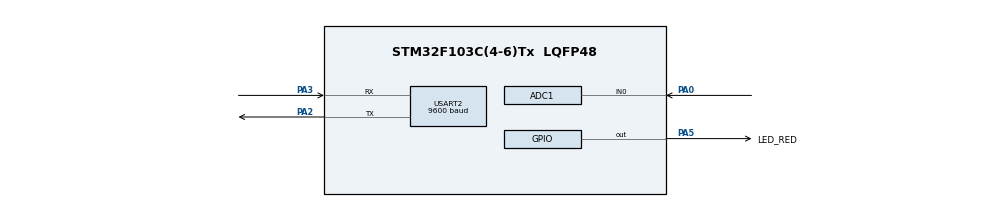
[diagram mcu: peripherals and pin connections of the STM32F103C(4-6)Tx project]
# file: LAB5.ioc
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ADC1.Channel-1\#ChannelRegularConversion=ADC_CHANNEL_0
ADC1.ContinuousConvMode=ENABLE
ADC1.NbrOfConversionFlag=1
ADC1.Rank-1\#ChannelRegularConversion=1
ADC1.SamplingTime-1\#ChannelRegularConversion=ADC_SAMPLETIME_1CYCLE_5
ADC1.master=1
Mcu.Family=STM32F1
Mcu.Name=STM32F103C(4-6)Tx
Mcu.Package=LQFP48
NVIC.PriorityGroup=NVIC_PRIORITYGROUP_4
NVIC.TIM2_IRQn=true\:0\:0\:false\:false\:true\:true\:true
NVIC.USART2_IRQn=true\:0\:0\:false\:false\:true\:true\:true
PA0-WKUP.Signal=ADCx_IN0
PA2.Mode=Asynchronous
PA2.Signal=USART2_TX
PA3.Mode=Asynchronous
PA3.Signal=USART2_RX
PA5.GPIO_Label=LED_RED
PA5.Signal=GPIO_Output
PA6.Signal=S_TIM3_CH1
ProjectManager.HeapSize=0x200
ProjectManager.StackSize=0x400
ProjectManager.TargetToolchain=STM32CubeIDE
RCC.APB1Freq_Value=8000000
RCC.APB2Freq_Value=8000000
SH.ADCx_IN0.0=ADC1_IN0,IN0
SH.S_TIM3_CH1.0=TIM3_CH1
TIM2.Period=9
TIM2.Prescaler=7999
USART2.BaudRate=9600
USART2.VirtualMode=VM_ASYNC
VP_SYS_VS_ND.Mode=No_Debug
VP_TIM2_VS_ClockSourceINT.Mode=Internal
board=custom

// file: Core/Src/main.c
/* USER CODE BEGIN Header */
/**
  ******************************************************************************
  * @file           : main.c
  * @brief          : Main program body
  ******************************************************************************
  * @attention
  *
  * <h2><center>&copy; Copyright (c) 2023 STMicroelectronics.
  * All rights reserved.</center></h2>
  *
  * This software component is licensed by ST under BSD 3-Clause license,
  * the "License"; You may not use this file except in compliance with the
  * License. You may obtain a copy of the License at:
  *                        opensource.org/licenses/BSD-3-Clause
  *
  ******************************************************************************
  */
/* USER CODE END Header */
#include "main.h"

/* USER CODE BEGIN Includes */
#include "global.h"
#include "software_timer.h"
#include "command_parser.h"
#include "uart_communication.h"
#include "string.h"
#include "stdio.h"
/* USER CODE END Includes */

ADC_HandleTypeDef hadc1;

TIM_HandleTypeDef htim2;

UART_HandleTypeDef huart2;

void SystemClock_Config(void);
static void MX_GPIO_Init(void);
static void MX_ADC1_Init(void);
static void MX_USART2_UART_Init(void);
static void MX_TIM2_Init(void);

/* USER CODE BEGIN 0 */
void HAL_UART_RxCpltCallback(UART_HandleTypeDef * huart) {
	if(huart->Instance == USART2){
		buffer[index_buffer++] = temp;
		if(index_buffer == MAX_BUFFER_SIZE) index_buffer = 0;
		buffer_flag = 1;
		HAL_UART_Transmit(&huart2, &temp, 1, 50);
		HAL_UART_Receive_IT(&huart2, &temp, 1);
	}
}
/* USER CODE END 0 */

int main(void)
{

  /* MCU Configuration--------------------------------------------------------*/

  /* Reset of all peripherals, Initializes the Flash interface and the Systick. */
  HAL_Init();

  /* Configure the system clock */
  SystemClock_Config();

  /* Initialize all configured peripherals */
  MX_GPIO_Init();
  MX_ADC1_Init();
  MX_USART2_UART_Init();
  MX_TIM2_Init();
  /* USER CODE BEGIN 2 */
  HAL_TIM_Base_Start_IT(&htim2);
  HAL_UART_Receive_IT(&huart2, &temp, 1);
  /* USER CODE END 2 */

  /* Infinite loop */
  while (1)
  {

    /* USER CODE BEGIN 3 */
	  // Toggle Led
	  	  if (timer_flag[0] == 1) {
	  		  HAL_GPIO_TogglePin(LED_RED_GPIO_Port, LED_RED_Pin);
	  		  setTimer(0, 1000);
	  	  }
	  	  // If received byte, call command_parser_fsm function
	  	  if (buffer_flag == 1) {
	  		  command_parser_fsm();
	  		  buffer_flag = 0;
	  	  }
	  	  // uart_communiation_fsm function
	  	  uart_communiation_fsm(hadc1, huart2);
  }
  /* USER CODE END 3 */
}

void SystemClock_Config(void)
{
  RCC_OscInitTypeDef RCC_OscInitStruct = {0};
  RCC_ClkInitTypeDef RCC_ClkInitStruct = {0};
  RCC_PeriphCLKInitTypeDef PeriphClkInit = {0};

  /** Initializes the RCC Oscillators according to the specified parameters
  * in the RCC_OscInitTypeDef structure.
  */
  RCC_OscInitStruct.OscillatorType = RCC_OSCILLATORTYPE_HSI;
  RCC_OscInitStruct.HSIState = RCC_HSI_ON;
  RCC_OscInitStruct.HSICalibrationValue = RCC_HSICALIBRATION_DEFAULT;
  RCC_OscInitStruct.PLL.PLLState = RCC_PLL_NONE;
  if (HAL_RCC_OscConfig(&RCC_OscInitStruct) != HAL_OK)
  {
    Error_Handler();
  }
  /** Initializes the CPU, AHB and APB buses clocks
  */
  RCC_ClkInitStruct.ClockType = RCC_CLOCKTYPE_HCLK|RCC_CLOCKTYPE_SYSCLK
                              |RCC_CLOCKTYPE_PCLK1|RCC_CLOCKTYPE_PCLK2;
  RCC_ClkInitStruct.SYSCLKSource = RCC_SYSCLKSOURCE_HSI;
  RCC_ClkInitStruct.AHBCLKDivider = RCC_SYSCLK_DIV1;
  RCC_ClkInitStruct.APB1CLKDivider = RCC_HCLK_DIV1;
  RCC_ClkInitStruct.APB2CLKDivider = RCC_HCLK_DIV1;

  if (HAL_RCC_ClockConfig(&RCC_ClkInitStruct, FLASH_LATENCY_0) != HAL_OK)
  {
    Error_Handler();
  }
  PeriphClkInit.PeriphClockSelection = RCC_PERIPHCLK_ADC;
  PeriphClkInit.AdcClockSelection = RCC_ADCPCLK2_DIV2;
  if (HAL_RCCEx_PeriphCLKConfig(&PeriphClkInit) != HAL_OK)
  {
    Error_Handler();
  }
}

static void MX_ADC1_Init(void)
{

  ADC_ChannelConfTypeDef sConfig = {0};

  /** Common config
  */
  hadc1.Instance = ADC1;
  hadc1.Init.ScanConvMode = ADC_SCAN_DISABLE;
  hadc1.Init.ContinuousConvMode = ENABLE;
  hadc1.Init.DiscontinuousConvMode = DISABLE;
  hadc1.Init.ExternalTrigConv = ADC_SOFTWARE_START;
  hadc1.Init.DataAlign = ADC_DATAALIGN_RIGHT;
  hadc1.Init.NbrOfConversion = 1;
  if (HAL_ADC_Init(&hadc1) != HAL_OK)
  {
    Error_Handler();
  }
  /** Configure Regular Channel
  */
  sConfig.Channel = ADC_CHANNEL_0;
  sConfig.Rank = ADC_REGULAR_RANK_1;
  sConfig.SamplingTime = ADC_SAMPLETIME_1CYCLE_5;
  if (HAL_ADC_ConfigChannel(&hadc1, &sConfig) != HAL_OK)
  {
    Error_Handler();
  }

}

static void MX_TIM2_Init(void)
{

  TIM_ClockConfigTypeDef sClockSourceConfig = {0};
  TIM_MasterConfigTypeDef sMasterConfig = {0};

  htim2.Instance = TIM2;
  htim2.Init.Prescaler = 7999;
  htim2.Init.CounterMode = TIM_COUNTERMODE_UP;
  htim2.Init.Period = 9;
  htim2.Init.ClockDivision = TIM_CLOCKDIVISION_DIV1;
  htim2.Init.AutoReloadPreload = TIM_AUTORELOAD_PRELOAD_DISABLE;
  if (HAL_TIM_Base_Init(&htim2) != HAL_OK)
  {
    Error_Handler();
  }
  sClockSourceConfig.ClockSource = TIM_CLOCKSOURCE_INTERNAL;
  if (HAL_TIM_ConfigClockSource(&htim2, &sClockSourceConfig) != HAL_OK)
  {
    Error_Handler();
  }
  sMasterConfig.MasterOutputTrigger = TIM_TRGO_RESET;
  sMasterConfig.MasterSlaveMode = TIM_MASTERSLAVEMODE_DISABLE;
  if (HAL_TIMEx_MasterConfigSynchronization(&htim2, &sMasterConfig) != HAL_OK)
  {
    Error_Handler();
  }
  /* USER CODE BEGIN TIM2_Init 2 */
  TIME_CYCLE = 1/(8e6/(htim2.Init.Prescaler + 1)/(htim2.Init.Period + 1)) * 1000; // Time cycle
  /* USER CODE END TIM2_Init 2 */

}

static void MX_USART2_UART_Init(void)
{

  huart2.Instance = USART2;
  huart2.Init.BaudRate = 9600;
  huart2.Init.WordLength = UART_WORDLENGTH_8B;
  huart2.Init.StopBits = UART_STOPBITS_1;
  huart2.Init.Parity = UART_PARITY_NONE;
  huart2.Init.Mode = UART_MODE_TX_RX;
  huart2.Init.HwFlowCtl = UART_HWCONTROL_NONE;
  huart2.Init.OverSampling = UART_OVERSAMPLING_16;
  if (HAL_UART_Init(&huart2) != HAL_OK)
  {
    Error_Handler();
  }

}

static void MX_GPIO_Init(void)
{
  GPIO_InitTypeDef GPIO_InitStruct = {0};

  /* GPIO Ports Clock Enable */
  __HAL_RCC_GPIOA_CLK_ENABLE();

  /*Configure GPIO pin Output Level */
  HAL_GPIO_WritePin(LED_RED_GPIO_Port, LED_RED_Pin, GPIO_PIN_RESET);

  /*Configure GPIO pin : LED_RED_Pin */
  GPIO_InitStruct.Pin = LED_RED_Pin;
  GPIO_InitStruct.Mode = GPIO_MODE_OUTPUT_PP;
  GPIO_InitStruct.Pull = GPIO_NOPULL;
  GPIO_InitStruct.Speed = GPIO_SPEED_FREQ_LOW;
  HAL_GPIO_Init(LED_RED_GPIO_Port, &GPIO_InitStruct);

  /*Configure GPIO pin : PA6 */
  GPIO_InitStruct.Pin = GPIO_PIN_6;
  GPIO_InitStruct.Mode = GPIO_MODE_AF_PP;
  GPIO_InitStruct.Speed = GPIO_SPEED_FREQ_LOW;
  HAL_GPIO_Init(GPIOA, &GPIO_InitStruct);

}

/* USER CODE BEGIN 4 */
void HAL_TIM_PeriodElapsedCallback(TIM_HandleTypeDef *htim){
	timerRun();
}
/* USER CODE END 4 */

void Error_Handler(void)
{
  __disable_irq();
  while (1)
  {
  }
}

/************************ (C) COPYRIGHT STMicroelectronics *****END OF FILE****/
